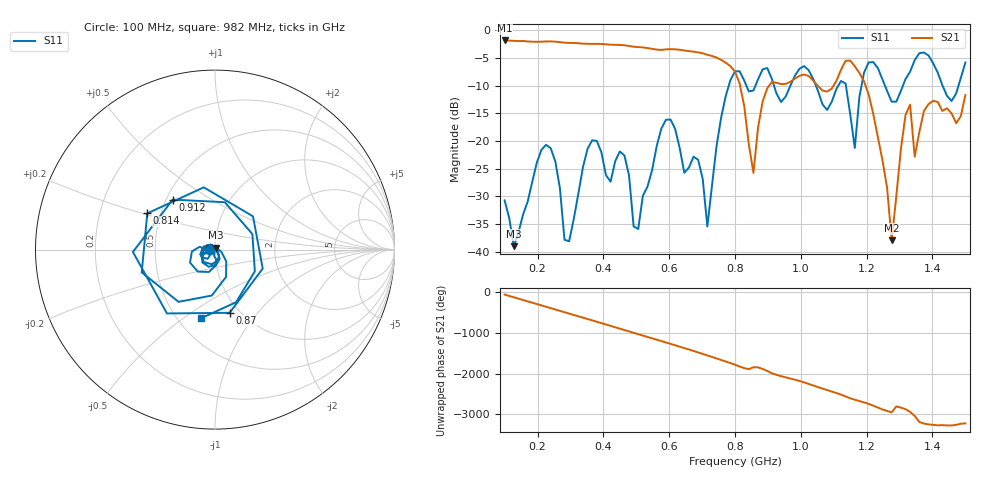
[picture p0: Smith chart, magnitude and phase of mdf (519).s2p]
! NanoVNA-App
! Date: 2025-09-25 15:42:27
! Start: 100MHz Stop: 1,5GHz Points: 101
! S-Parameter data: F S11 S21 S12 S22
# Hz S RI R 50
!  Frequency  S11_Real  S11_Imag  S21_Real  S21_Imag  S12_Real  S12_Imag  S22_Real  S22_Imag
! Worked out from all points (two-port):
!   101 points, 100 MHz to 1.5 GHz, reference 50 ohm
!   highest |S21| = -1.80 dB at 100 MHz (marker M1); lowest = -38.0 dB at 1.276 GHz (marker M2)
!   |S21| within 3 dB of the highest: start of sweep to 739.5 MHz
!   lowest |S11| = -39.0 dB at 128 MHz (marker M3), VSWR 1.02, Z = 50.3 + j1.08 ohm
!   |S11| at or under -10 dB: start of sweep to 781 MHz; 918.6 MHz to 968.1 MHz (49.52 MHz wide, 5.25 % of centre); 1.046 GHz to 1.114 GHz (67.71 MHz wide, 6.27 % of centre) (the widest 3 of 7)
!   S12 and S22 are empty: the file has one direction only
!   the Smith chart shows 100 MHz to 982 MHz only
!   S11 on the Smith chart (normalised r, x): 100 MHz: 0.94, -0.01; 814 MHz: 0.42, +0.21; 870 MHz: 0.90, -0.73; 912 MHz: 0.54, +0.35; 982 MHz: 0.65, -0.59
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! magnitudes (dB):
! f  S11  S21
! 100 MHz  -30.7  -1.8
! 128 MHz  -39.0  -1.9
! 212 MHz  -21.6  -2.0
! 282 MHz  -37.8  -2.2
! 338 MHz  -24.7  -2.4
! 464 MHz  -22.6  -2.7
! 506 MHz  -35.9  -3.0
! 576 MHz  -17.8  -3.5
! 716 MHz  -35.5  -4.4
! 800 MHz  -7.4  -7.4
! 814 MHz  -7.4  -9.6
! 856 MHz  -10.9  -25.8
! 870 MHz  -8.8  -17.6
! 912 MHz  -8.8  -9.3
! 982 MHz  -8.2  -8.7
! 1.038 GHz  -8.8  -9.1
! 1.164 GHz  -21.2  -6.5
! 1.192 GHz  -7.6  -9.2
! 1.276 GHz  -12.9  -38.0
! 1.332 GHz  -7.5  -13.4
! 1.346 GHz  -5.4  -22.8
! 1.5 GHz  -5.8  -11.7
